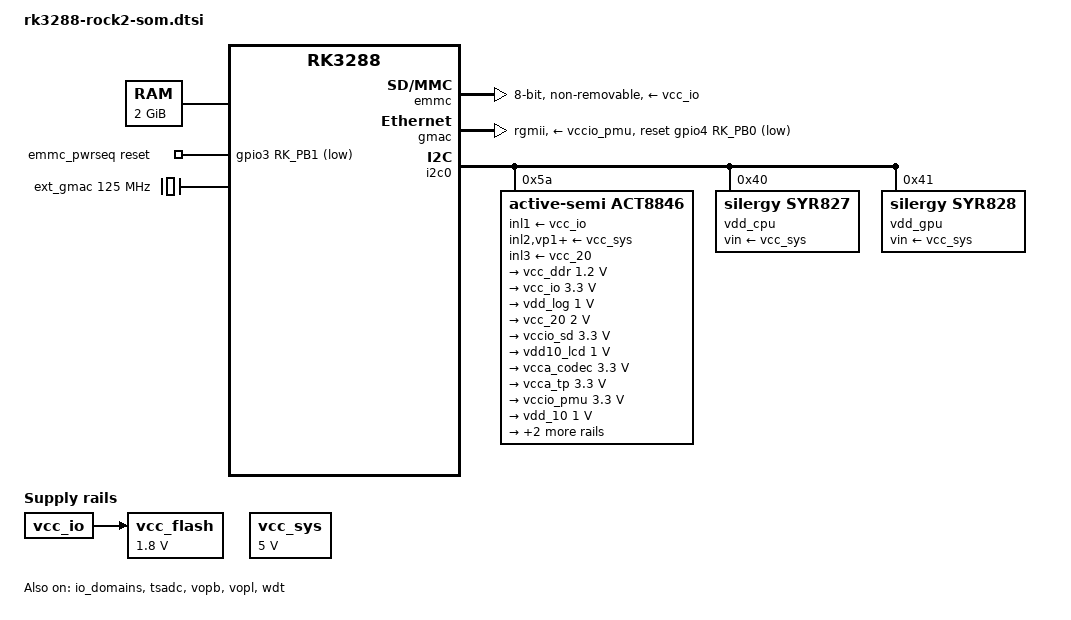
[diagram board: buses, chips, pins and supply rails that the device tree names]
/*
 * This file is dual-licensed: you can use it either under the terms
 * of the GPL or the X11 license, at your option. Note that this dual
 * licensing only applies to this file, and not this project as a
 * whole.
 *
 *  a) This file is free software; you can redistribute it and/or
 *     modify it under the terms of the GNU General Public License as
 *     published by the Free Software Foundation; either version 2 of the
 *     License, or (at your option) any later version.
 *
 *     This file is distributed in the hope that it will be useful,
 *     but WITHOUT ANY WARRANTY; without even the implied warranty of
 *     MERCHANTABILITY or FITNESS FOR A PARTICULAR PURPOSE.  See the
 *     GNU General Public License for more details.
 *
 * Or, alternatively,
 *
 *  b) Permission is hereby granted, free of charge, to any person
 *     obtaining a copy of this software and associated documentation
 *     files (the "Software"), to deal in the Software without
 *     restriction, including without limitation the rights to use,
 *     copy, modify, merge, publish, distribute, sublicense, and/or
 *     sell copies of the Software, and to permit persons to whom the
 *     Software is furnished to do so, subject to the following
 *     conditions:
 *
 *     The above copyright notice and this permission notice shall be
 *     included in all copies or substantial portions of the Software.
 *
 *     THE SOFTWARE IS PROVIDED "AS IS", WITHOUT WARRANTY OF ANY KIND,
 *     EXPRESS OR IMPLIED, INCLUDING BUT NOT LIMITED TO THE WARRANTIES
 *     OF MERCHANTABILITY, FITNESS FOR A PARTICULAR PURPOSE AND
 *     NONINFRINGEMENT. IN NO EVENT SHALL THE AUTHORS OR COPYRIGHT
 *     HOLDERS BE LIABLE FOR ANY CLAIM, DAMAGES OR OTHER LIABILITY,
 *     WHETHER IN AN ACTION OF CONTRACT, TORT OR OTHERWISE, ARISING
 *     FROM, OUT OF OR IN CONNECTION WITH THE SOFTWARE OR THE USE OR
 *     OTHER DEALINGS IN THE SOFTWARE.
 */

#include <dt-bindings/pwm/pwm.h>
#include "rk3288.dtsi"

/ {
	memory@0 {
		reg = <0x0 0x80000000>;
		device_type = "memory";
	};

	emmc_pwrseq: emmc-pwrseq {
		compatible = "mmc-pwrseq-emmc";
		pinctrl-0 = <&emmc_reset>;
		pinctrl-names = "default";
		reset-gpios = <&gpio3 RK_PB1 GPIO_ACTIVE_LOW>;
	};

	ext_gmac: external-gmac-clock {
		compatible = "fixed-clock";
		#clock-cells = <0>;
		clock-frequency = <125000000>;
		clock-output-names = "ext_gmac";
	};

	vcc_flash: flash-regulator {
		compatible = "regulator-fixed";
		regulator-name = "vcc_sys";
		regulator-min-microvolt = <1800000>;
		regulator-max-microvolt = <1800000>;
		startup-delay-us = <150>;
		vin-supply = <&vcc_io>;
	};

	vcc_sys: vsys-regulator {
		compatible = "regulator-fixed";
		regulator-name = "vcc_sys";
		regulator-min-microvolt = <5000000>;
		regulator-max-microvolt = <5000000>;
		regulator-always-on;
		regulator-boot-on;
	};
};

&cpu0 {
	cpu0-supply = <&vdd_cpu>;
};

&emmc {
	bus-width = <8>;
	cap-mmc-highspeed;
	disable-wp;
	non-removable;
	num-slots = <1>;
	mmc-pwrseq = <&emmc_pwrseq>;
	pinctrl-names = "default";
	pinctrl-0 = <&emmc_clk &emmc_cmd &emmc_bus8>;
	vmmc-supply = <&vcc_io>;
	vqmmc-supply = <&vcc_flash>;
	status = "okay";
};

&gmac {
	assigned-clocks = <&cru SCLK_MAC>;
	assigned-clock-parents = <&ext_gmac>;
	clock_in_out = "input";
	phy-mode = "rgmii";
	phy-supply = <&vccio_pmu>;
	pinctrl-names = "default";
	pinctrl-0 = <&rgmii_pins &phy_rst>;
	snps,reset-gpio = <&gpio4 RK_PB0 GPIO_ACTIVE_LOW>;
	snps,reset-active-low;
	snps,reset-delays-us = <0 10000 30000>;
	rx_delay = <0x10>;
	tx_delay = <0x30>;
};

&i2c0 {
	status = "okay";

	act8846: act8846@5a {
		compatible = "active-semi,act8846";
		reg = <0x5a>;
		system-power-controller;
		inl1-supply = <&vcc_io>;
		inl2-supply = <&vcc_sys>;
		inl3-supply = <&vcc_20>;
		vp1-supply = <&vcc_sys>;
		vp2-supply = <&vcc_sys>;
		vp3-supply = <&vcc_sys>;
		vp4-supply = <&vcc_sys>;

		regulators {
			vcc_ddr: REG1 {
				regulator-name = "VCC_DDR";
				regulator-min-microvolt = <1200000>;
				regulator-max-microvolt = <1200000>;
				regulator-always-on;
			};

			vcc_io: vccio_codec: REG2 {
				regulator-name = "VCC_IO";
				regulator-min-microvolt = <3300000>;
				regulator-max-microvolt = <3300000>;
				regulator-always-on;
			};

			vdd_log: REG3 {
				regulator-name = "VDD_LOG";
				regulator-min-microvolt = <1000000>;
				regulator-max-microvolt = <1000000>;
				regulator-always-on;
			};

			vcc_20: REG4 {
				regulator-name = "VCC_20";
				regulator-min-microvolt = <2000000>;
				regulator-max-microvolt = <2000000>;
				regulator-always-on;
			};

			vccio_sd: REG5 {
				regulator-name = "VCCIO_SD";
				regulator-min-microvolt = <3300000>;
				regulator-max-microvolt = <3300000>;
				regulator-always-on;
			};

			vdd10_lcd: REG6 {
				regulator-name = "VDD10_LCD";
				regulator-min-microvolt = <1000000>;
				regulator-max-microvolt = <1000000>;
				regulator-always-on;
			};

			vcca_codec: REG7 {
				regulator-name = "VCCA_CODEC";
				regulator-min-microvolt = <3300000>;
				regulator-max-microvolt = <3300000>;
				regulator-always-on;
			};

			vcca_tp: REG8 {
				regulator-name = "VCCA_TP";
				regulator-min-microvolt = <3300000>;
				regulator-max-microvolt = <3300000>;
				regulator-always-on;
			};

			vccio_pmu: REG9 {
				regulator-name = "VCCIO_PMU";
				regulator-min-microvolt = <3300000>;
				regulator-max-microvolt = <3300000>;
				regulator-always-on;
			};

			vdd_10: REG10 {
				regulator-name = "VDD_10";
				regulator-min-microvolt = <1000000>;
				regulator-max-microvolt = <1000000>;
				regulator-always-on;
			};

			vcc_18: REG11 {
				regulator-name = "VCC_18";
				regulator-min-microvolt = <1800000>;
				regulator-max-microvolt = <1800000>;
				regulator-always-on;
			};

			vcc18_lcd: REG12 {
				regulator-name = "VCC18_LCD";
				regulator-min-microvolt = <1800000>;
				regulator-max-microvolt = <1800000>;
				regulator-always-on;
			};
		};
	};

	vdd_cpu: syr827@40 {
		compatible = "silergy,syr827";
		reg = <0x40>;
		fcs,suspend-voltage-selector = <1>;
		regulator-always-on;
		regulator-boot-on;
		regulator-enable-ramp-delay = <300>;
		regulator-name = "vdd_cpu";
		regulator-min-microvolt = <850000>;
		regulator-max-microvolt = <1350000>;
		regulator-ramp-delay = <8000>;
		vin-supply = <&vcc_sys>;
	};

	vdd_gpu: syr828@41 {
		compatible = "silergy,syr828";
		reg = <0x41>;
		fcs,suspend-voltage-selector = <1>;
		regulator-always-on;
		regulator-enable-ramp-delay = <300>;
		regulator-min-microvolt = <850000>;
		regulator-max-microvolt = <1350000>;
		regulator-name = "vdd_gpu";
		regulator-ramp-delay = <8000>;
		vin-supply = <&vcc_sys>;
	};
};

&io_domains {
	status = "okay";

	audio-supply = <&vcc_io>;
	bb-supply = <&vcc_io>;
	dvp-supply = <&vcc_18>;
	flash0-supply = <&vcc_flash>;
	flash1-supply = <&vccio_pmu>;
	gpio30-supply = <&vccio_pmu>;
	gpio1830 = <&vcc_io>;
	lcdc-supply = <&vcc_io>;
	sdcard-supply = <&vccio_sd>;
	wifi-supply = <&vcc_18>;
};

&pinctrl {
	pcfg_output_high: pcfg-output-high {
		output-high;
	};

	emmc {
			emmc_reset: emmc-reset {
				rockchip,pins = <3 9 RK_FUNC_GPIO &pcfg_pull_none>;
			};
	};

	gmac {
		phy_rst: phy-rst {
			rockchip,pins = <4 8 RK_FUNC_GPIO  &pcfg_output_high>;
		};
	};
};

&tsadc {
	rockchip,hw-tshut-mode = <0>; /* tshut mode 0:CRU 1:GPIO */
	rockchip,hw-tshut-polarity = <0>; /* tshut polarity 0:LOW 1:HIGH */
	status = "okay";
};

&vopb {
	status = "okay";
};

&vopb_mmu {
	status = "okay";
};

&vopl {
	status = "okay";
};

&vopl_mmu {
	status = "okay";
};

&wdt {
	status = "okay";
};
